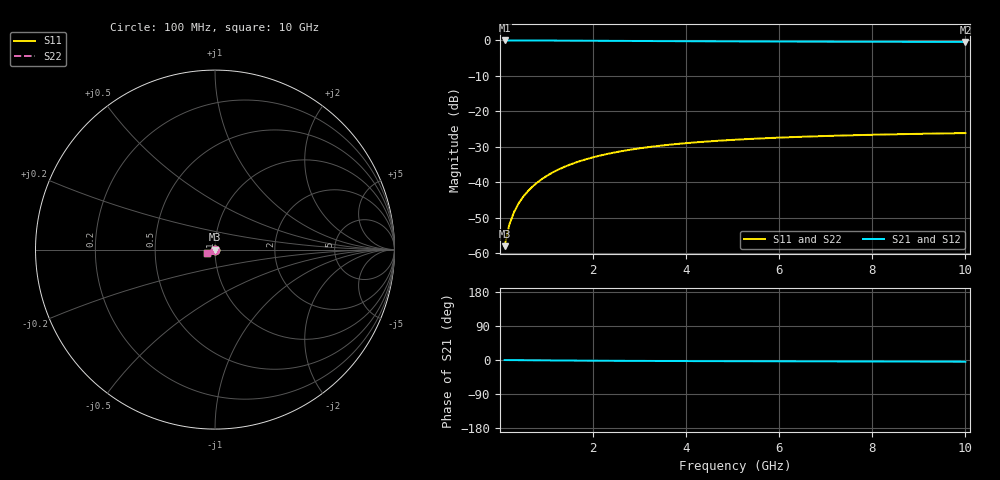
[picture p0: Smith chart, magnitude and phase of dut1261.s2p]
! Touchstone file exported from HFSS 2024.1.0
!  File:  C:/UserFiles/LocalFiles/RDL_TSV_Batchsim/temp_TSV1_1261_1780253470.aedt
!  Generated:  02:57:43 AM Jun  1, 2026
!  Design:  TSV1
!  Project:  temp_TSV1_1261_1780253470
!  Setup:  Setup1
!  Solution:  Sweep
! Variables:
!  dtsv = 11.51um
!  hbump = 3um
!  htsv = 67.56um
!  lrdl = 252.1521522um
!  p = 40
!  p1 = 40.32um
!  t = 500um
!  trdl = 3um
!  wrdl = 24.89489489um
# GHz S MA R 50.000000
! Terminal data exported
! Port[1] = TSV22_T1
! Port[2] = TSV22_T2
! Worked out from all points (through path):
!   100 points, 100 MHz to 10 GHz, reference 50 ohm
!   highest |S21| = 0.00 dB at 100 MHz (marker M1); lowest = -0.4 dB at 10 GHz (marker M2)
!   lowest |S11| = -58.1 dB at 100 MHz (marker M3), VSWR 1.00, Z = 50 - j0.125 ohm
!   |S11| at or under -10 dB: start of sweep to end of sweep
!   |S22| runs from -58.1 to -26.1 dB; largest |S21 - S12| = 7.6e-15
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0.1  0.001251 -86.7  0.9999 -0.1  0.9999 -0.1  0.001251 -86.7
! Gamma 0 0 0 0
! Port Impedance 50 0 50 0
0.2  0.002503 -90.3  0.9998 -0.2  0.9998 -0.2  0.002503 -90.3
0.3  0.003757 -92.4  0.9996 -0.3  0.9996 -0.3  0.003757 -92.4
0.4  0.005005 -94.3  0.9994 -0.4  0.9994 -0.4  0.005005 -94.3
0.5  0.006245 -96.0  0.9991 -0.5  0.9991 -0.5  0.006245 -96.0
0.6  0.007472 -97.6  0.9987 -0.6  0.9987 -0.6  0.007472 -97.6
0.7  0.008685 -99.1  0.9983 -0.7  0.9983 -0.7  0.008685 -99.1
0.8  0.00988 -100.6  0.9979 -0.8  0.9979 -0.8  0.00988 -100.6
0.9  0.01106 -102.0  0.9974 -0.9  0.9974 -0.9  0.01106 -102.0
1.1  0.01335 -104.8  0.9962 -1.1  0.9962 -1.1  0.01335 -104.8
1.4  0.01661 -108.8  0.9943 -1.4  0.9943 -1.4  0.01661 -108.8
1.6  0.01866 -111.4  0.9928 -1.5  0.9928 -1.5  0.01866 -111.4
1.8  0.0206 -113.8  0.9913 -1.7  0.9913 -1.7  0.0206 -113.8
2.1  0.02331 -117.2  0.989 -1.9  0.989 -1.9  0.02331 -117.2
2.5  0.02655 -121.4  0.9859 -2.1  0.9859 -2.1  0.02655 -121.4
2.9  0.0294 -125.1  0.9829 -2.3  0.9829 -2.3  0.0294 -125.1
3.4  0.03247 -129.3  0.9793 -2.6  0.9793 -2.6  0.03247 -129.3
4.2  0.03645 -135.0  0.9742 -2.9  0.9742 -2.9  0.03645 -135.0
5.1  0.03989 -140.2  0.9693 -3.2  0.9693 -3.2  0.03989 -140.2
6.7  0.04423 -147.2  0.9626 -3.6  0.9626 -3.6  0.04423 -147.2
8.4  0.0473 -152.8  0.9577 -4.0  0.9577 -4.0  0.0473 -152.8
10  0.04932 -156.8  0.9544 -4.4  0.9544 -4.4  0.04932 -156.8
